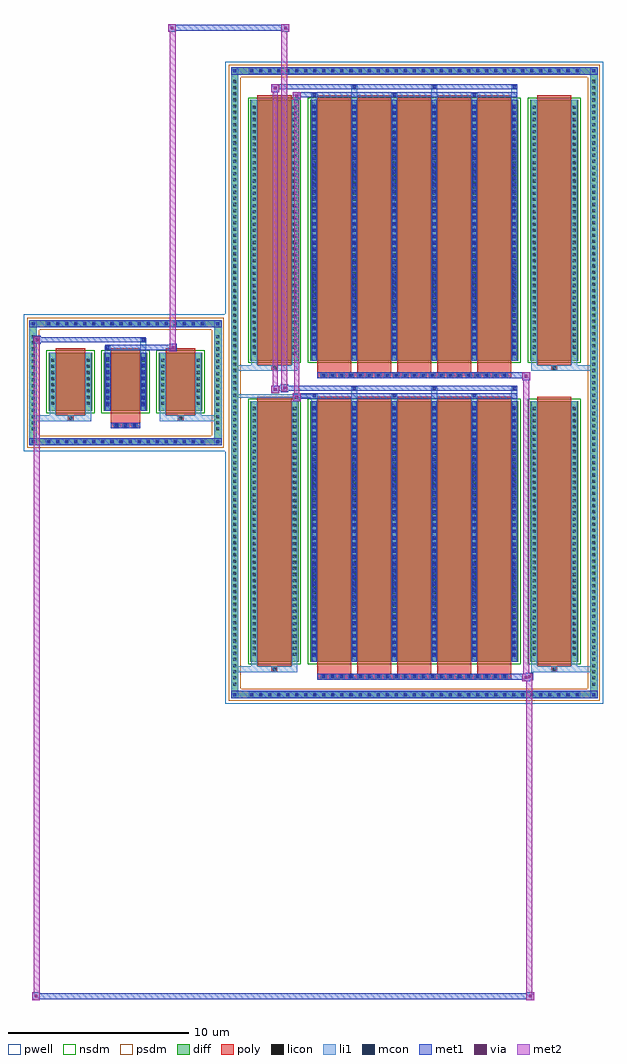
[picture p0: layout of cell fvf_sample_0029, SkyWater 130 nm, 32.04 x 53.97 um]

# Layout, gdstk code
import gdstk
lib = gdstk.Library(unit=1e-6, precision=1e-09)
def R(c, l, rs):  # rectangles x0, y0, x1, y1
    for r in rs: c.add(gdstk.rectangle(r[:2], r[2:], *l))
def A(c, l, x, y, w, h, nx, ny, dx, dy):  # array of equal rectangles
    R(c, l, [(x+i*dx, y+j*dy, x+i*dx+w, y+j*dy+h) for i in range(nx) for j in range(ny)])
def P(c, l, *ps):  # polygons
    for p in ps: c.add(gdstk.Polygon(p, *l))
pwell = (64, 44)
diff = (65, 20)
poly = (66, 20)
licon = (66, 44)
li1 = (67, 20)
mcon = (67, 44)
met1 = (68, 20)
via = (68, 44)
met2 = (69, 20)
nsdm = (93, 44)
psdm = (94, 20)

fvf_sample_0029 = lib.new_cell('fvf_sample_0029')
R(fvf_sample_0029, pwell, [(5.524,-17.759,26.412,17.759), (-5.624,-3.778,5.624,3.778)])
A(fvf_sample_0029, diff, 6.763, -17.449, 0.41, 0.41, 37, 2, 0.5, 34.488)
A(fvf_sample_0029, diff, 5.834, -16.865, 0.41, 0.41, 1, 99, 0, 0.34)
A(fvf_sample_0029, diff, 25.692, -16.865, 0.41, 0.41, 1, 99, 0, 0.34)
A(fvf_sample_0029, diff, -4.455, -3.468, 0.41, 0.41, 18, 2, 0.5, 6.526)
A(fvf_sample_0029, diff, -5.314, -2.755, 0.41, 0.41, 1, 16, 0, 0.34)
A(fvf_sample_0029, diff, 4.904, -2.755, 0.41, 0.41, 1, 16, 0, 0.34)
A(fvf_sample_0029, diff, -4.243, -1.547, 2.402, 3.21, 3, 1, 3.042, 0)
R(fvf_sample_0029, diff, [(6.763,-17.449,25.173,-17.039), (5.834,-16.865,6.244,16.865), (25.692,-16.865,26.102,16.865), (6.904,-15.428,9.568,-1.016), (10.208,-15.428,21.728,-1.016), (22.368,-15.428,25.032,-1.016), (-4.455,-3.468,4.455,-3.058), (-5.314,-2.755,-4.904,2.755), (4.904,-2.755,5.314,2.755), (6.904,1.232,9.568,15.644), (10.208,1.232,21.728,15.644), (22.368,1.232,25.032,15.644), (-4.455,3.058,4.455,3.468), (6.763,17.039,25.173,17.449)])
P(fvf_sample_0029, diff, [(5.314,3.468),(-5.314,3.468),(-5.314,-3.058),(-4.904,-3.058),(-4.904,3.058),(4.904,3.058),(4.904,-3.058),(-4.904,-3.058),(-5.314,-3.058),(-5.314,-3.468),(5.314,-3.468)],
  [(26.102,17.449),(5.834,17.449),(5.834,-17.039),(6.244,-17.039),(6.244,17.039),(25.692,17.039),(25.692,-17.039),(6.244,-17.039),(5.834,-17.039),(5.834,-17.449),(26.102,-17.449)])
A(fvf_sample_0029, poly, 10.803, -16.41, 0.33, 0.33, 21, 2, 0.5, 16.66)
A(fvf_sample_0029, poly, 10.598, -16.08, 1.884, 0.402, 5, 2, 2.214, 16.66)
A(fvf_sample_0029, poly, 10.598, -15.678, 1.884, 14.912, 5, 2, 2.214, 16.66)
A(fvf_sample_0029, poly, -0.665, -2.528, 0.33, 0.33, 3, 1, 0.5, 0)
A(fvf_sample_0029, poly, -3.853, -1.797, 1.622, 3.71, 3, 1, 3.042, 0)
R(fvf_sample_0029, poly, [(10.598,-16.41,21.338,-16.08), (8.071,-16.008,8.401,-15.678), (8.071,-16.008,8.401,-15.678), (23.535,-16.008,23.865,-15.678), (23.535,-16.008,23.865,-15.678), (7.294,-15.678,9.178,-0.766), (22.758,-15.678,24.642,-0.766), (-0.811,-2.528,0.811,-2.198), (-0.811,-2.198,0.811,-1.797), (-3.207,-2.127,-2.877,-1.797), (-3.207,-2.127,-2.877,-1.797), (2.877,-2.127,3.207,-1.797), (2.877,-2.127,3.207,-1.797), (10.598,0.25,21.338,0.58), (8.071,0.652,8.401,0.982), (8.071,0.652,8.401,0.982), (23.535,0.652,23.865,0.982), (23.535,0.652,23.865,0.982), (7.294,0.982,9.178,15.894), (22.758,0.982,24.642,15.894)])
A(fvf_sample_0029, licon, 6.883, -17.329, 0.17, 0.17, 37, 2, 0.5, 34.488)
A(fvf_sample_0029, licon, 5.954, -16.745, 0.17, 0.17, 1, 99, 0, 0.34)
A(fvf_sample_0029, licon, 25.812, -16.745, 0.17, 0.17, 1, 99, 0, 0.34)
A(fvf_sample_0029, licon, 10.883, -16.33, 0.17, 0.17, 21, 2, 0.5, 16.66)
A(fvf_sample_0029, licon, 7.044, -15.107, 0.17, 0.17, 1, 41, 0, 0.34)
A(fvf_sample_0029, licon, 9.258, -15.107, 0.17, 0.17, 1, 41, 0, 0.34)
A(fvf_sample_0029, licon, 10.348, -15.107, 0.17, 0.17, 6, 41, 2.214, 0.34)
A(fvf_sample_0029, licon, 22.508, -15.107, 0.17, 0.17, 1, 41, 0, 0.34)
A(fvf_sample_0029, licon, 24.722, -15.107, 0.17, 0.17, 1, 41, 0, 0.34)
A(fvf_sample_0029, licon, -4.335, -3.348, 0.17, 0.17, 18, 2, 0.5, 6.526)
A(fvf_sample_0029, licon, -5.194, -2.635, 0.17, 0.17, 1, 16, 0, 0.34)
A(fvf_sample_0029, licon, 5.024, -2.635, 0.17, 0.17, 1, 16, 0, 0.34)
A(fvf_sample_0029, licon, -0.585, -2.448, 0.17, 0.17, 3, 1, 0.5, 0)
A(fvf_sample_0029, licon, -4.103, -1.217, 0.17, 0.17, 1, 8, 0, 0.34)
A(fvf_sample_0029, licon, -2.151, -1.217, 0.17, 0.17, 1, 8, 0, 0.34)
A(fvf_sample_0029, licon, -1.061, -1.217, 0.17, 0.17, 1, 8, 0, 0.34)
A(fvf_sample_0029, licon, 0.891, -1.217, 0.17, 0.17, 1, 8, 0, 0.34)
A(fvf_sample_0029, licon, 1.981, -1.217, 0.17, 0.17, 1, 8, 0, 0.34)
A(fvf_sample_0029, licon, 3.933, -1.217, 0.17, 0.17, 1, 8, 0, 0.34)
A(fvf_sample_0029, licon, 7.044, 1.553, 0.17, 0.17, 1, 41, 0, 0.34)
A(fvf_sample_0029, licon, 9.258, 1.553, 0.17, 0.17, 1, 41, 0, 0.34)
A(fvf_sample_0029, licon, 10.348, 1.553, 0.17, 0.17, 6, 41, 2.214, 0.34)
A(fvf_sample_0029, licon, 22.508, 1.553, 0.17, 0.17, 1, 41, 0, 0.34)
A(fvf_sample_0029, licon, 24.722, 1.553, 0.17, 0.17, 1, 41, 0, 0.34)
R(fvf_sample_0029, licon, [(8.151,-15.928,8.321,-15.758), (23.615,-15.928,23.785,-15.758), (-3.127,-2.047,-2.957,-1.877), (2.957,-2.047,3.127,-1.877), (8.151,0.732,8.321,0.902), (23.615,0.732,23.785,0.902)])
A(fvf_sample_0029, li1, 6.803, -17.409, 0.33, 0.33, 37, 2, 0.5, 34.488)
A(fvf_sample_0029, li1, 5.874, -16.825, 0.33, 0.33, 1, 99, 0, 0.34)
A(fvf_sample_0029, li1, 25.732, -16.825, 0.33, 0.33, 1, 99, 0, 0.34)
A(fvf_sample_0029, li1, 10.803, -16.41, 0.33, 0.33, 21, 2, 0.5, 16.66)
A(fvf_sample_0029, li1, 10.268, -15.428, 0.33, 14.412, 6, 2, 2.214, 16.66)
A(fvf_sample_0029, li1, 6.964, -15.187, 0.33, 0.33, 1, 41, 0, 0.34)
A(fvf_sample_0029, li1, 9.178, -15.187, 0.33, 0.33, 1, 41, 0, 0.34)
A(fvf_sample_0029, li1, 10.268, -15.187, 0.33, 0.33, 6, 41, 2.214, 0.34)
A(fvf_sample_0029, li1, 22.428, -15.187, 0.33, 0.33, 1, 41, 0, 0.34)
A(fvf_sample_0029, li1, 24.642, -15.187, 0.33, 0.33, 1, 41, 0, 0.34)
A(fvf_sample_0029, li1, 10.348, -15.147, 0.17, 0.17, 6, 39, 2.214, 0.36)
A(fvf_sample_0029, li1, 10.348, -15.147, 0.17, 13.85, 6, 2, 2.214, 16.66)
A(fvf_sample_0029, li1, -4.415, -3.428, 0.33, 0.33, 18, 2, 0.5, 6.526)
A(fvf_sample_0029, li1, -5.274, -2.715, 0.33, 0.33, 1, 16, 0, 0.34)
A(fvf_sample_0029, li1, 4.944, -2.715, 0.33, 0.33, 1, 16, 0, 0.34)
A(fvf_sample_0029, li1, -0.665, -2.528, 0.33, 0.33, 3, 1, 0.5, 0)
A(fvf_sample_0029, li1, -4.183, -1.297, 0.33, 0.33, 1, 8, 0, 0.34)
A(fvf_sample_0029, li1, -2.231, -1.297, 0.33, 0.33, 1, 8, 0, 0.34)
A(fvf_sample_0029, li1, -1.141, -1.297, 0.33, 0.33, 1, 8, 0, 0.34)
A(fvf_sample_0029, li1, 0.811, -1.297, 0.33, 0.33, 1, 8, 0, 0.34)
A(fvf_sample_0029, li1, 1.901, -1.297, 0.33, 0.33, 1, 8, 0, 0.34)
A(fvf_sample_0029, li1, 3.853, -1.297, 0.33, 0.33, 1, 8, 0, 0.34)
A(fvf_sample_0029, li1, -1.061, -1.287, 0.17, 0.17, 1, 8, 0, 0.36)
A(fvf_sample_0029, li1, 0.891, -1.287, 0.17, 0.17, 1, 8, 0, 0.36)
A(fvf_sample_0029, li1, 10.268, -1.016, 0.33, 0.375, 3, 2, 4.428, 16.66)
A(fvf_sample_0029, li1, 12.482, -1.016, 0.33, 0.805, 3, 2, 4.428, 16.66)
A(fvf_sample_0029, li1, 10.348, -0.811, 0.17, 0.17, 3, 2, 4.428, 16.66)
A(fvf_sample_0029, li1, 12.562, -0.381, 0.17, 0.17, 3, 2, 4.428, 16.66)
A(fvf_sample_0029, li1, 6.964, 1.473, 0.33, 0.33, 1, 41, 0, 0.34)
A(fvf_sample_0029, li1, 9.178, 1.473, 0.33, 0.33, 1, 41, 0, 0.34)
A(fvf_sample_0029, li1, 10.268, 1.473, 0.33, 0.33, 6, 41, 2.214, 0.34)
A(fvf_sample_0029, li1, 22.428, 1.473, 0.33, 0.33, 1, 41, 0, 0.34)
A(fvf_sample_0029, li1, 24.642, 1.473, 0.33, 0.33, 1, 41, 0, 0.34)
A(fvf_sample_0029, li1, 10.348, 1.513, 0.17, 0.17, 6, 39, 2.214, 0.36)
R(fvf_sample_0029, li1, [(5.834,-17.449,6.244,-17.039), (25.692,-17.449,26.102,-17.039), (6.803,-17.409,25.133,-17.079), (5.954,-17.329,6.124,-17.159), (5.954,-17.329,6.124,-17.159), (25.812,-17.329,25.982,-17.159), (25.812,-17.329,25.982,-17.159), (5.834,-17.039,6.244,17.039), (25.692,-17.039,26.102,17.039), (5.834,-16.008,8.071,-15.678), (6.964,-16.008,7.294,-15.428), (6.964,-16.008,8.071,-15.678), (8.071,-16.008,8.401,-15.678), (8.401,-16.008,9.508,-15.678), (9.178,-16.008,9.508,-15.428), (22.428,-16.008,22.758,-15.428), (22.428,-16.008,23.535,-15.678), (23.535,-16.008,23.865,-15.678), (23.535,-16.008,26.102,-15.678), (23.865,-16.008,24.972,-15.678), (24.642,-16.008,24.972,-15.428), (6.964,-15.428,7.294,-1.016), (9.178,-15.428,9.508,-1.016), (22.428,-15.428,22.758,-1.016), (24.642,-15.428,24.972,-1.016), (-5.314,-3.468,-4.904,-3.058), (4.904,-3.468,5.314,-3.058), (-4.415,-3.428,4.415,-3.098), (-5.194,-3.348,-5.024,-3.178), (-5.194,-3.348,-5.024,-3.178), (5.024,-3.348,5.194,-3.178), (5.024,-3.348,5.194,-3.178), (-5.314,-3.058,-4.904,3.058), (4.904,-3.058,5.314,3.058), (-5.314,-2.127,-3.207,-1.797), (-4.183,-2.127,-3.207,-1.797), (-4.183,-2.127,-3.853,-1.547), (-3.207,-2.127,-2.877,-1.797), (-2.877,-2.127,-1.901,-1.797), (-2.231,-2.127,-1.901,-1.547), (1.901,-2.127,2.877,-1.797), (1.901,-2.127,2.231,-1.547), (2.877,-2.127,3.207,-1.797), (2.877,-2.127,5.314,-1.797), (3.207,-2.127,4.183,-1.797), (3.853,-2.127,4.183,-1.547), (-4.183,-1.547,-3.853,1.663), (-2.231,-1.547,-1.901,1.663), (-1.141,-1.547,-0.811,1.663), (0.811,-1.547,1.141,1.663), (1.901,-1.547,2.231,1.663), (3.853,-1.547,4.183,1.663), (-1.061,-1.287,-0.891,1.403), (0.891,-1.287,1.061,1.403), (10.288,-0.871,10.578,-0.581), (5.834,-0.826,10.288,-0.626), (10.348,-0.811,10.518,-0.641), (5.834,0.652,8.071,0.982), (6.964,0.652,7.294,1.232), (6.964,0.652,8.071,0.982), (8.071,0.652,8.401,0.982), (8.401,0.652,9.508,0.982), (9.178,0.652,9.508,1.232), (22.428,0.652,22.758,1.232), (22.428,0.652,23.535,0.982), (23.535,0.652,23.865,0.982), (23.535,0.652,26.102,0.982), (23.865,0.652,24.972,0.982), (24.642,0.652,24.972,1.232), (6.964,1.232,7.294,15.644), (9.178,1.232,9.508,15.644), (22.428,1.232,22.758,15.644), (24.642,1.232,24.972,15.644), (-1.141,1.663,-0.811,2.038), (0.811,1.663,1.141,2.468), (-1.061,1.868,-0.891,2.038), (0.891,2.298,1.061,2.468), (-5.314,3.058,-4.904,3.468), (4.904,3.058,5.314,3.468), (-4.415,3.098,4.415,3.428), (-5.194,3.178,-5.024,3.348), (-5.194,3.178,-5.024,3.348), (5.024,3.178,5.194,3.348), (5.024,3.178,5.194,3.348), (5.834,17.039,6.244,17.449), (25.692,17.039,26.102,17.449), (6.803,17.079,25.133,17.409), (5.954,17.159,6.124,17.329), (5.954,17.159,6.124,17.329), (25.812,17.159,25.982,17.329), (25.812,17.159,25.982,17.329)])
A(fvf_sample_0029, mcon, 6.883, -17.329, 0.17, 0.17, 37, 2, 0.5, 34.488)
A(fvf_sample_0029, mcon, 10.883, -16.33, 0.17, 0.17, 21, 2, 0.5, 16.66)
A(fvf_sample_0029, mcon, 10.348, -15.147, 0.17, 0.17, 6, 39, 2.214, 0.36)
A(fvf_sample_0029, mcon, -4.335, -3.348, 0.17, 0.17, 18, 2, 0.5, 6.526)
A(fvf_sample_0029, mcon, -0.585, -2.448, 0.17, 0.17, 3, 1, 0.5, 0)
A(fvf_sample_0029, mcon, -1.061, -1.287, 0.17, 0.17, 1, 8, 0, 0.36)
A(fvf_sample_0029, mcon, 0.891, -1.287, 0.17, 0.17, 1, 8, 0, 0.36)
A(fvf_sample_0029, mcon, 10.348, -0.811, 0.17, 0.17, 3, 2, 4.428, 16.66)
A(fvf_sample_0029, mcon, 12.562, -0.381, 0.17, 0.17, 3, 2, 4.428, 16.66)
A(fvf_sample_0029, mcon, 10.348, 1.513, 0.17, 0.17, 6, 39, 2.214, 0.36)
R(fvf_sample_0029, mcon, [(5.954,-17.329,6.124,-17.159), (25.812,-17.329,25.982,-17.159), (-5.194,-3.348,-5.024,-3.178), (5.024,-3.348,5.194,-3.178), (10.348,-0.811,10.518,-0.641), (-1.061,1.868,-0.891,2.038), (0.891,2.298,1.061,2.468), (-5.194,3.178,-5.024,3.348), (5.024,3.178,5.194,3.348), (5.954,17.159,6.124,17.329), (25.812,17.159,25.982,17.329)])
A(fvf_sample_0029, met1, 6.823, -17.389, 0.29, 0.29, 37, 2, 0.5, 34.488)
A(fvf_sample_0029, met1, 10.823, -16.39, 0.29, 0.29, 21, 2, 0.5, 16.66)
A(fvf_sample_0029, met1, 10.288, -15.428, 0.29, 14.412, 6, 2, 2.214, 16.66)
A(fvf_sample_0029, met1, 10.288, -15.207, 0.29, 0.29, 6, 39, 2.214, 0.36)
A(fvf_sample_0029, met1, -4.395, -3.408, 0.29, 0.29, 18, 2, 0.5, 6.526)
A(fvf_sample_0029, met1, -0.645, -2.508, 0.29, 0.29, 3, 1, 0.5, 0)
A(fvf_sample_0029, met1, -1.121, -1.347, 0.29, 0.29, 1, 8, 0, 0.36)
A(fvf_sample_0029, met1, 0.831, -1.347, 0.29, 0.29, 1, 8, 0, 0.36)
A(fvf_sample_0029, met1, 10.288, -0.871, 0.29, 0.29, 3, 2, 4.428, 16.66)
A(fvf_sample_0029, met1, 12.502, -0.441, 0.29, 0.29, 3, 2, 4.428, 16.66)
A(fvf_sample_0029, met1, 10.288, 1.453, 0.29, 0.29, 6, 39, 2.214, 0.36)
R(fvf_sample_0029, met1, [(-5.164,-34.133,-4.734,-33.703), (22.173,-34.133,22.603,-33.703), (-5.164,-34.083,22.603,-33.753), (-5.164,-33.753,-4.734,-33.703), (22.173,-33.753,22.603,-33.703), (5.834,-17.449,6.244,-17.039), (5.834,-17.449,6.244,-17.039), (6.244,-17.449,25.692,-17.039), (25.692,-17.449,26.102,-17.039), (25.692,-17.449,26.102,-17.039), (5.894,-17.389,6.184,-17.099), (25.752,-17.389,26.042,-17.099), (21.938,-16.51,22.368,-16.08), (22.123,-16.46,22.553,-16.03), (10.598,-16.41,21.338,-16.08), (21.338,-16.41,22.123,-16.08), (21.338,-16.41,22.368,-16.08), (-5.314,-3.468,-4.904,-3.058), (-5.314,-3.468,-4.904,-3.058), (-4.904,-3.468,4.904,-3.058), (4.904,-3.468,5.314,-3.058), (4.904,-3.468,5.314,-3.058), (-5.254,-3.408,-4.964,-3.118), (4.964,-3.408,5.254,-3.118), (-0.811,-2.528,0.811,-2.198), (-1.121,-1.547,-0.831,1.663), (0.831,-1.547,1.121,1.663), (9.258,-1.011,9.688,-0.581), (9.258,-0.871,10.288,-0.581), (10.288,-0.871,10.578,-0.581), (10.288,-0.871,21.648,-0.581), (8.058,-0.581,8.488,-0.151), (8.573,-0.511,9.003,-0.081), (8.058,-0.441,10.288,-0.151), (9.003,-0.441,10.288,-0.151), (10.288,-0.441,21.648,-0.151), (21.938,0.15,22.368,0.58), (10.598,0.25,21.338,0.58), (21.338,0.25,22.368,0.58), (2.406,1.738,2.836,2.168), (-1.121,1.808,-0.831,2.098), (-1.121,1.808,1.121,2.098), (1.121,1.808,2.406,2.098), (-5.114,2.168,-4.684,2.598), (-4.684,2.238,-1.121,2.528), (-1.121,2.238,1.121,2.528), (0.831,2.238,1.121,2.528), (-5.314,3.058,-4.904,3.468), (-5.314,3.058,-4.904,3.468), (-4.904,3.058,4.904,3.468), (4.904,3.058,5.314,3.468), (4.904,3.058,5.314,3.468), (-5.254,3.118,-4.964,3.408), (4.964,3.118,5.254,3.408), (9.258,15.649,9.688,16.079), (9.258,15.789,10.288,16.079), (10.288,15.789,21.648,16.079), (8.058,16.079,8.488,16.509), (8.058,16.219,10.288,16.509), (10.288,16.219,21.648,16.509), (5.834,17.039,6.244,17.449), (5.834,17.039,6.244,17.449), (6.244,17.039,25.692,17.449), (25.692,17.039,26.102,17.449), (25.692,17.039,26.102,17.449), (5.894,17.099,6.184,17.389), (25.752,17.099,26.042,17.389), (2.356,19.411,2.786,19.841), (8.623,19.411,9.053,19.841), (2.356,19.461,9.053,19.791), (2.356,19.791,2.786,19.841), (8.623,19.791,9.053,19.841)])
R(fvf_sample_0029, via, [(-5.024,-33.993,-4.874,-33.843), (22.313,-33.993,22.463,-33.843), (22.078,-16.37,22.228,-16.22), (22.263,-16.32,22.413,-16.17), (9.398,-0.871,9.548,-0.721), (8.198,-0.441,8.348,-0.291), (8.713,-0.371,8.863,-0.221), (22.078,0.29,22.228,0.44), (2.546,1.878,2.696,2.028), (-4.974,2.308,-4.824,2.458), (9.398,15.789,9.548,15.939), (8.198,16.219,8.348,16.369), (2.496,19.551,2.646,19.701), (8.763,19.551,8.913,19.701)])
R(fvf_sample_0029, met2, [(-5.164,-34.133,-4.734,-33.703), (-5.064,-34.133,-4.734,2.218), (22.173,-34.133,22.603,-33.703), (22.173,-34.133,22.503,-16.41), (-5.114,-34.083,-4.784,-33.753), (22.223,-34.083,22.553,-33.753), (21.938,-16.51,22.368,-16.08), (21.988,-16.51,22.318,0.58), (22.318,-16.51,22.368,-16.08), (21.988,-16.46,22.318,-16.13), (22.173,-16.41,22.503,-16.08), (9.258,-1.011,9.688,-0.581), (9.328,-1.011,9.618,16.079), (9.618,-1.011,9.688,-0.581), (9.308,-0.961,9.638,-0.631), (8.058,-0.581,8.488,-0.151), (8.128,-0.581,8.418,16.509), (8.418,-0.581,8.488,-0.151), (8.108,-0.531,8.438,-0.201), (8.623,-0.461,8.953,-0.131), (8.623,-0.131,8.953,19.841), (21.938,0.15,22.368,0.58), (22.318,0.15,22.368,0.58), (21.988,0.2,22.318,0.53), (2.456,1.788,2.786,2.118), (2.456,2.118,2.786,19.841), (-5.064,2.218,-4.734,2.548), (9.258,15.649,9.688,16.079), (9.618,15.649,9.688,16.079), (9.308,15.699,9.638,16.029), (8.058,16.079,8.488,16.509), (8.418,16.079,8.488,16.509), (8.108,16.129,8.438,16.459), (2.356,19.411,2.786,19.841), (8.623,19.411,9.053,19.841), (2.406,19.461,2.736,19.791), (8.673,19.461,9.003,19.791)])
A(fvf_sample_0029, nsdm, -4.373, -1.677, 2.662, 3.47, 3, 1, 3.042, 0)
R(fvf_sample_0029, nsdm, [(6.774,-15.558,9.698,-0.886), (10.078,-15.558,21.858,-0.886), (22.238,-15.558,25.162,-0.886), (6.774,1.102,9.698,15.774), (10.078,1.102,21.858,15.774), (22.238,1.102,25.162,15.774)])
P(fvf_sample_0029, psdm, [(5.444,3.598),(-5.444,3.598),(-5.444,-2.928),(-4.774,-2.928),(-4.774,2.928),(4.774,2.928),(4.774,-2.928),(-4.774,-2.928),(-5.444,-2.928),(-5.444,-3.598),(5.444,-3.598)],
  [(26.232,17.579),(5.704,17.579),(5.704,-16.909),(6.374,-16.909),(6.374,16.909),(25.562,16.909),(25.562,-16.909),(6.374,-16.909),(5.704,-16.909),(5.704,-17.579),(26.232,-17.579)])

lib.write_gds('fvf_sample_0029.gds')
